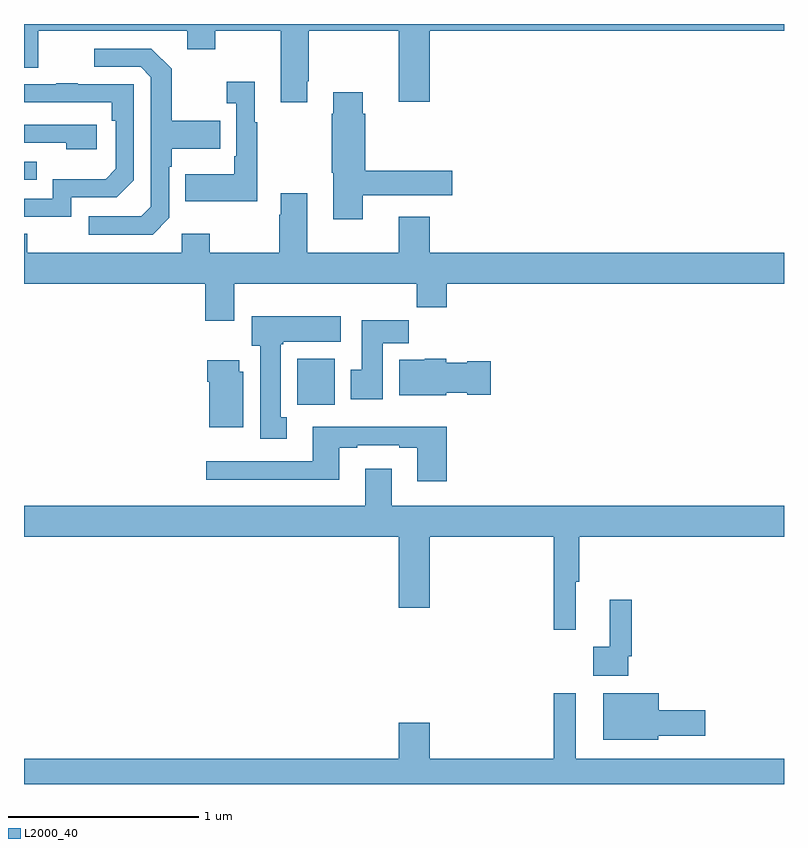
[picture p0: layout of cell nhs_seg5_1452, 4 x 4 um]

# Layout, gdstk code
import gdstk
lib = gdstk.Library(unit=1e-6, precision=1e-09)
def R(c, l, rs):  # rectangles x0, y0, x1, y1
    for r in rs: c.add(gdstk.rectangle(r[:2], r[2:], *l))
def P(c, l, *ps):  # polygons
    for p in ps: c.add(gdstk.Polygon(p, *l))
L2000_40 = (2000, 40)

nhs_seg5_1452 = lib.new_cell('nhs_seg5_1452')
R(nhs_seg5_1452, L2000_40, [(200.438,850.796,200.635,851.038), (199,851.979,199.067,852.075)])
P(nhs_seg5_1452, L2000_40, [(200.491,852.499),(200.499,852.499),(200.499,852.764),(200.972,852.764),(200.972,852.39),(201.136,852.39),(201.136,852.764),(203,852.764),(203,852.799),(199,852.799),(199,852.57),(199.075,852.57),(199.075,852.764),(199.859,852.764),(199.859,852.665),(200.007,852.665),(200.007,852.764),(200.351,852.764),(200.351,852.387),(200.491,852.387)],
  [(199.764,851.778),(199.764,852.047),(199.777,852.047),(199.777,852.143),(200.033,852.143),(200.033,852.291),(199.777,852.291),(199.777,852.563),(199.671,852.669),(199.371,852.669),(199.371,852.573),(199.614,852.573),(199.668,852.519),(199.668,851.838),(199.617,851.787),(199.341,851.787),(199.341,851.691),(199.677,851.691)],
  [(200.227,852.283),(200.215,852.283),(200.215,852.496),(200.067,852.496),(200.067,852.383),(200.118,852.383),(200.118,852.103),(200.106,852.103),(200.106,852.007),(199.849,852.007),(199.849,851.867),(200.227,851.867)],
  [(199.248,851.886),(199.488,851.886),(199.578,851.976),(199.578,852.483),(199.283,852.483),(199.283,852.488),(199.171,852.488),(199.171,852.483),(199,852.483),(199,852.387),(199.462,852.387),(199.462,852.29),(199.482,852.29),(199.482,852.036),(199.429,851.983),(199.152,851.983),(199.152,851.88),(199,851.88),(199,851.784),(199.248,851.784)],
  [(200.782,851.897),(201.253,851.897),(201.253,852.027),(200.795,852.027),(200.795,852.326),(200.782,852.326),(200.782,852.439),(200.627,852.439),(200.627,852.326),(200.62,852.326),(200.62,852.015),(200.627,852.015),(200.627,851.772),(200.782,851.772)],
  [(199.384,852.27),(199,852.27),(199,852.174),(199.223,852.174),(199.223,852.14),(199.384,852.14)],
  [(200.972,851.596),(200.491,851.596),(200.491,851.908),(200.351,851.908),(200.351,851.795),(200.344,851.795),(200.344,851.596),(199.977,851.596),(199.977,851.695),(199.83,851.695),(199.83,851.596),(199.017,851.596),(199.017,851.695),(199,851.695),(199,851.432),(199.955,851.432),(199.955,851.238),(200.107,851.238),(200.107,851.432),(201.067,851.432),(201.067,851.308),(201.224,851.308),(201.224,851.432),(203,851.432),(203,851.596),(201.136,851.596),(201.136,851.785),(200.972,851.785)],
  [(200.383,850.73),(200.35,850.73),(200.35,851.113),(200.364,851.113),(200.364,851.126),(200.668,851.126),(200.668,851.26),(200.198,851.26),(200.198,851.106),(200.243,851.106),(200.243,850.617),(200.383,850.617)],
  [(200.887,851.12),(201.026,851.12),(201.026,851.239),(200.777,851.239),(200.777,850.98),(200.72,850.98),(200.72,850.824),(200.887,850.824)],
  [(201.222,850.859),(201.333,850.859),(201.333,850.847),(201.457,850.847),(201.457,851.025),(201.333,851.025),(201.333,851.017),(201.222,851.017),(201.222,851.038),(201.108,851.038),(201.108,851.032),(200.975,851.032),(200.975,850.844),(201.222,850.844)],
  [(200.155,850.968),(200.134,850.968),(200.134,851.029),(199.964,851.029),(199.964,850.916),(199.976,850.916),(199.976,850.676),(200.155,850.676)],
  [(201.224,850.678),(200.519,850.678),(200.519,850.497),(199.959,850.497),(199.959,850.4),(200.659,850.4),(200.659,850.569),(200.755,850.569),(200.755,850.581),(200.975,850.581),(200.975,850.569),(201.071,850.569),(201.071,850.392),(201.224,850.392)],
  [(201.905,849.864),(201.923,849.864),(201.923,850.1),(203,850.1),(203,850.264),(200.935,850.264),(200.935,850.459),(200.795,850.459),(200.795,850.264),(199,850.264),(199,850.1),(200.972,850.1),(200.972,849.726),(201.136,849.726),(201.136,850.1),(201.787,850.1),(201.787,849.612),(201.905,849.612)],
  [(202.179,849.472),(202.199,849.472),(202.199,849.769),(202.082,849.769),(202.082,849.521),(201.996,849.521),(201.996,849.368),(202.179,849.368)],
  [(202.338,849.053),(202.585,849.053),(202.585,849.188),(202.342,849.188),(202.342,849.277),(202.049,849.277),(202.049,849.032),(202.338,849.032)],
  [(203,848.932),(201.904,848.932),(201.904,849.277),(201.787,849.277),(201.787,848.932),(201.136,848.932),(201.136,849.121),(200.972,849.121),(200.972,848.932),(199,848.932),(199,848.799),(203,848.799)])

lib.write_gds('nhs_seg5_1452.gds')
